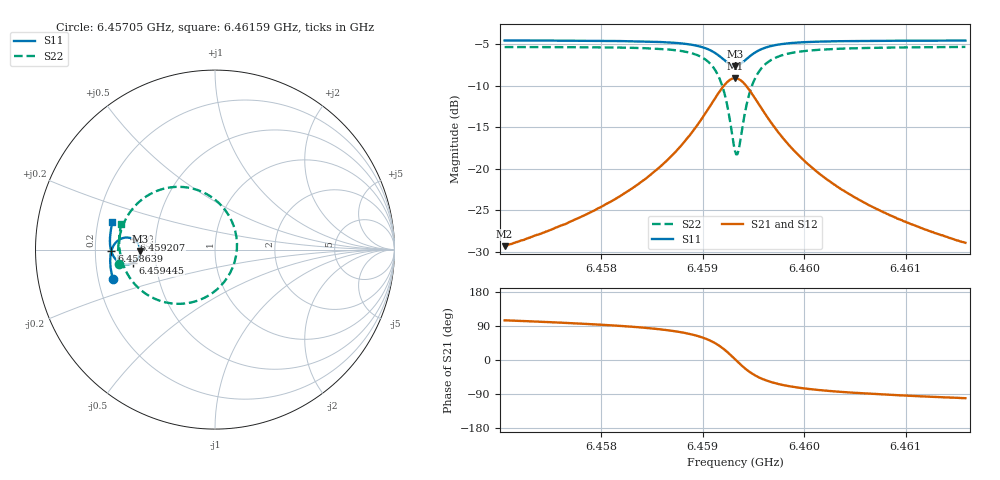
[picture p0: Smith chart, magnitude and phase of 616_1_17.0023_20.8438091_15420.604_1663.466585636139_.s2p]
#  HZ  S  RI  R  50.00
! Rohde & Schwarz Vector Network Analyzer
! Rohde-Schwarz,ZNB20-2Port,1311601062101988,3.16
! Created: UTC 3/20/2024, 11:19:43 PM
! freq[Hz]  re:S11  im:S11  re:S21  im:S21  re:S12  im:S12  re:S22  im:S22
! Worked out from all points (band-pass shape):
!   401 points, 6.45705 GHz to 6.46159 GHz, reference 50 ohm
!   highest |S21| = -9.10 dB at 6.45932 GHz (marker M1); lowest = -29.3 dB at 6.45705 GHz (marker M2)
!   |S21| within 3 dB of the highest: 6.459093 GHz to 6.459547 GHz (454.1 kHz wide, 0.00703 % of centre)
!   lowest |S11| = -7.6 dB at 6.45932 GHz (marker M3), VSWR 2.42, Z = 20.6 - j0.382 ohm
!   |S11| at or under -10 dB: nowhere
!   |S22| runs from -18.3 to -5.3 dB; largest |S21 - S12| = 0.014
!   S11 on the Smith chart (normalised r, x): 6.45705 GHz: 0.26, -0.13; 6.458639 GHz: 0.27, -0.01; 6.459207 GHz: 0.38, +0.05; 6.459445 GHz: 0.37, -0.07; 6.46159 GHz: 0.26, +0.12
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6.4570504e9  -0.5683 -0.1665  -0.00856 0.033  -0.00689 0.033  -0.5345 -0.0778
6.4578107e9  -0.5816 -0.0997  -0.0052 0.0513  -0.00264 0.0505  -0.539 0.0121
6.4581966e9  -0.584 -0.061  0.000202 0.0688  0.0034 0.0675  -0.5312 0.0733
6.458571e9  -0.5797 -0.0162  0.0152 0.1  0.0192 0.0972  -0.5032 0.1576
6.4586391e9  -0.5775 -0.00672  0.0208 0.1085  0.0248 0.1053  -0.4928 0.1778
6.458832e9  -0.5645 0.0235  0.0479 0.1396  0.052 0.1345  -0.4419 0.2472
6.4589796e9  -0.5413 0.0499  0.0939 0.1702  0.0972 0.1634  -0.3567 0.3117
6.4591157e9  -0.4969 0.0672  0.1823 0.1865  0.1833 0.1792  -0.1949 0.3495
6.4592065e9  -0.4518 0.0565  0.2734 0.1544  0.2735 0.1486  -0.0261 0.2971
6.4592746e9  -0.4225 0.0237  0.3343 0.0813  0.3365 0.0759  0.0905 0.1648
6.45932e9  -0.4156 -0.00765  0.3505 0.0122  0.3544 0.00523  0.1225 0.0354
6.459354e9  -0.4196 -0.0318  0.3444 -0.041  0.3485 -0.0502  0.1101 -0.0657
6.4593994e9  -0.4356 -0.0582  0.3152 -0.1018  0.3174 -0.1139  0.0506 -0.1807
6.4594448e9  -0.458 -0.0749  0.272 -0.1431  0.2716 -0.1567  -0.0365 -0.2563
6.4595356e9  -0.502 -0.0818  0.1858 -0.1743  0.1796 -0.1861  -0.2088 -0.3021
6.4596037e9  -0.5265 -0.0744  0.1367 -0.172  0.1286 -0.181  -0.3038 -0.2861
6.4596831e9  -0.5463 -0.0611  0.0967 -0.1598  0.088 -0.1659  -0.3791 -0.2506
6.459842e9  -0.5681 -0.0334  0.0513 -0.131  0.0436 -0.1338  -0.4603 -0.1769
6.4600803e9  -0.5809 0.00231  0.022 -0.0988  0.0161 -0.0994  -0.5083 -0.0931
6.4604207e9  -0.5854 0.0431  0.0059 -0.0715  0.00183 -0.0709  -0.5295 -0.0132
6.4608406e9  -0.5834 0.0856  -0.0017 -0.0524  -0.00459 -0.0518  -0.5336 0.0553
6.4615896e9  -0.5713 0.1523  -0.00667 -0.0351  -0.00851 -0.034  -0.5218 0.1446
